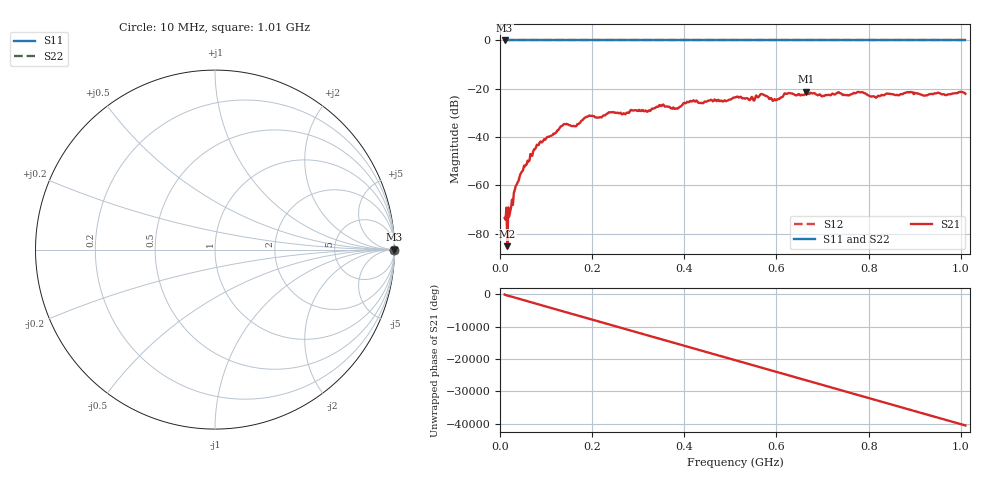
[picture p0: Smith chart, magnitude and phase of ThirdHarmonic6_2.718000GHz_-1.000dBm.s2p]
! 8/17/2025 6:36:42 AM
! C:\ANRITSUVNA\TEMP\TEMP.S2P
! CHANNEL.1
! TR.MEASUREMENT
! RAW.DATA
! RF.CORRECTION.OFF
! AVERAGING.OFF
! IF.BANDWIDTH: 5KHZ
! SWEEPTYPE:  FREQ.SWEEP(Linear)
! Reference Plane Port Info
! PORT:  PORT1  PORT2
! DISTANCE:  0  m  0  m
! TIME:  0  s  0  s
! PHASE.OFFSET:  0  deg.  0  deg.
! LOSS:  0  dB  0  dB
! REF.LOSS:  0  dB  0  dB
! REF.FREQ:  0  Hz  0  Hz
! Power Info
! POWER:  -20  dBm  -20  dBm
! EFF.POWER:  -20  dBm  -20  dBm
! SOURCE.ATTEN:  0  dB  0  dB
! TEST.ATTEN:  0  dB  0  dB
# GHZ S RI R 50.0
! FREQ.GHZ  S11RE  S11IM  S21RE  S21IM  S12RE  S12IM  S22RE  S22IM
!; PortSelection: Port_12
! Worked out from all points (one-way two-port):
!   501 points, 10 MHz to 1.01 GHz, reference 50 ohm
!   highest |S21| = -21.24 dB at 664 MHz (marker M1); lowest = -85.1 dB at 16 MHz (marker M2)
!   lowest |S11| = 0.0 dB at 10 MHz (marker M3)
!   |S11| at or under -10 dB: nowhere
!   |S22| runs from 0.0 to 0.0 dB; largest |S21 - S12| = 1.1
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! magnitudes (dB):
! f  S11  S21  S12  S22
! 10 MHz  0.0  -73.4  0.0  0.0
! 16 MHz  0.0  -85.1  0.0  0.0
! 20 MHz  0.0  -72.9  0.0  0.0
! 34 MHz  0.0  -60.3  0.0  0.0
! 48 MHz  0.0  -54.1  0.0  0.0
! 78 MHz  0.0  -44.3  0.0  0.0
! 136 MHz  0.0  -35.1  0.0  0.0
! 162 MHz  0.0  -35.5  0.0  0.0
! 178 MHz  0.0  -33.0  0.0  0.0
! 344 MHz  0.0  -27.4  0.0  0.0
! 382 MHz  0.0  -28.1  0.0  0.0
! 416 MHz  0.0  -25.3  0.0  0.0
! 510 MHz  0.0  -23.6  0.0  0.0
! 548 MHz  0.0  -23.6  0.0  0.0
! 570 MHz  0.0  -22.3  0.0  0.0
! 596 MHz  0.0  -24.3  0.0  0.0
! 622 MHz  0.0  -22.1  0.0  0.0
! 664 MHz  0.0  -21.2  0.0  0.0
! 678 MHz  0.0  -21.9  0.0  0.0
! 814 MHz  0.0  -23.5  0.0  0.0
! 844 MHz  0.0  -22.1  0.0  0.0
! 1.01 GHz  0.0  -22.1  0.0  0.0
